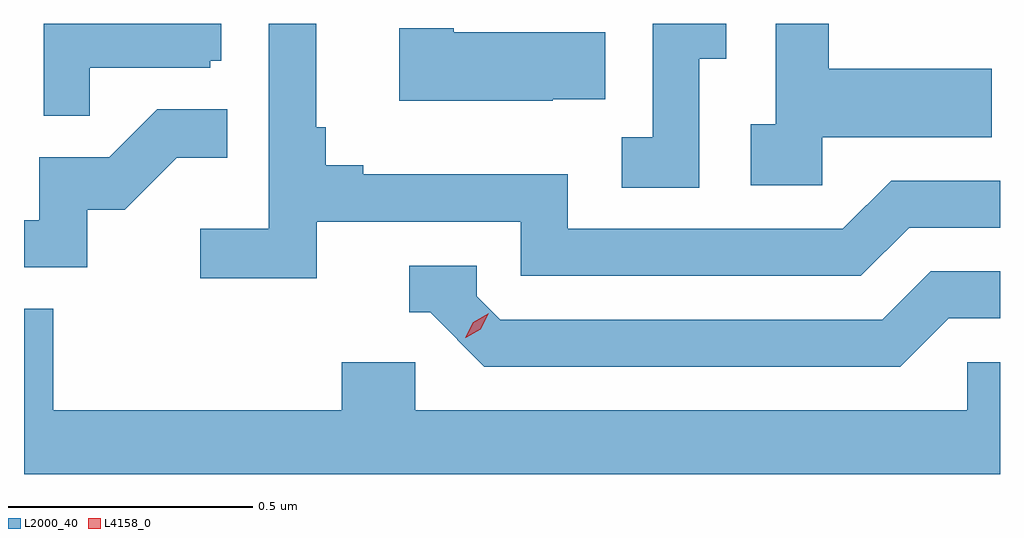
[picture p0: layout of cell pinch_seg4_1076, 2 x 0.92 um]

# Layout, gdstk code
import gdstk
lib = gdstk.Library(unit=1e-6, precision=1e-09)
def P(c, l, *ps):  # polygons
    for p in ps: c.add(gdstk.Polygon(p, *l))
L2000_40 = (2000, 40)
L4158_0 = (4158, 0)

pinch_seg4_1076 = lib.new_cell('pinch_seg4_1076')
P(pinch_seg4_1076, L2000_40, [(877.104,749.752),(877.159,749.752),(877.159,749.824),(877.008,749.824),(877.008,749.591),(876.945,749.591),(876.945,749.488),(877.104,749.488)],
  [(877.356,749.591),(877.703,749.591),(877.703,749.731),(877.369,749.731),(877.369,749.824),(877.26,749.824),(877.26,749.618),(877.209,749.618),(877.209,749.493),(877.356,749.493)],
  [(875.855,749.733),(876.102,749.733),(876.102,749.748),(876.124,749.748),(876.124,749.824),(875.76,749.824),(875.76,749.635),(875.855,749.635)],
  [(876.32,749.418),(876.738,749.418),(876.738,749.307),(877.435,749.307),(877.534,749.406),(877.72,749.406),(877.72,749.502),(877.497,749.502),(877.398,749.403),(876.834,749.403),(876.834,749.515),(876.415,749.515),(876.415,749.534),(876.338,749.534),(876.338,749.611),(876.319,749.611),(876.319,749.824),(876.222,749.824),(876.222,749.404),(876.081,749.404),(876.081,749.302),(876.32,749.302)],
  [(876.803,749.669),(876.911,749.669),(876.911,749.806),(876.601,749.806),(876.601,749.814),(876.489,749.814),(876.489,749.666),(876.803,749.666)],
  [(875.85,749.442),(875.926,749.442),(876.033,749.549),(876.137,749.549),(876.137,749.648),(875.993,749.648),(875.895,749.55),(875.751,749.55),(875.751,749.421),(875.72,749.421),(875.72,749.325),(875.85,749.325)],
  [(877.615,749.22),(877.72,749.22),(877.72,749.316),(877.578,749.316),(877.479,749.217),(876.696,749.217),(876.648,749.265),(876.648,749.328),(876.509,749.328),(876.509,749.232),(876.552,749.232),(876.663,749.121),(877.516,749.121)],
  [(877.72,749.13),(877.653,749.13),(877.653,749.032),(876.522,749.032),(876.522,749.13),(876.371,749.13),(876.371,749.032),(875.78,749.032),(875.78,749.24),(875.72,749.24),(875.72,748.9),(877.72,748.9)])
P(pinch_seg4_1076, L4158_0, [(876.624,749.18),(876.624,749.18),(876.641,749.212),(876.672,749.23),(876.672,749.23),(876.672,749.23),(876.656,749.198),(876.625,749.18)])

lib.write_gds('pinch_seg4_1076.gds')
